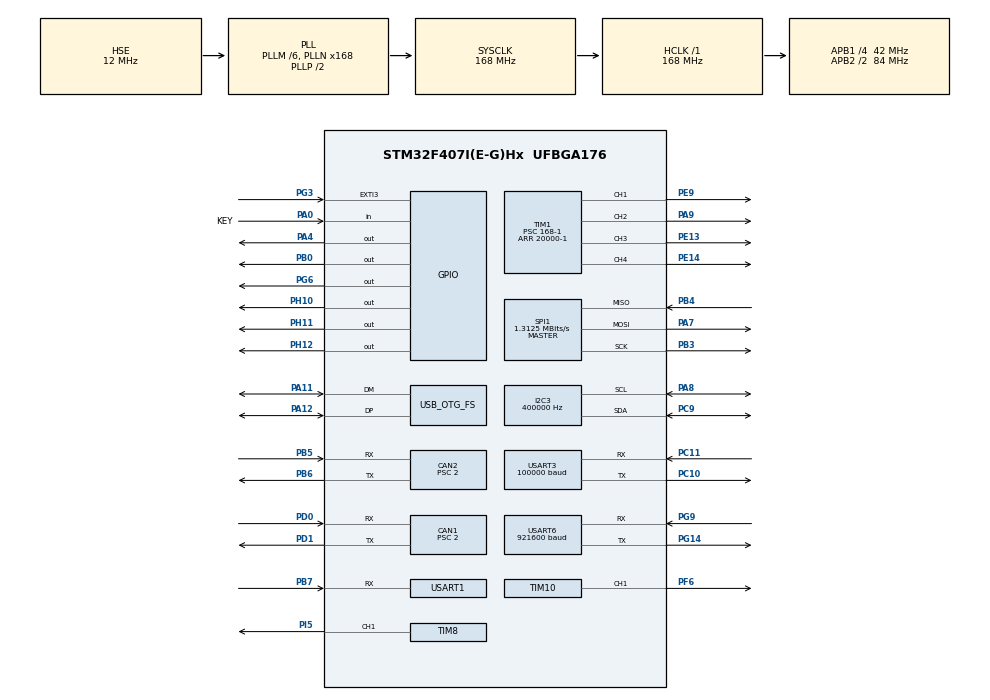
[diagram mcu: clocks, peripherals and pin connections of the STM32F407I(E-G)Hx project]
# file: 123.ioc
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CAN1.ABOM=ENABLE
CAN1.AWUM=DISABLE
CAN1.BS1=CAN_BS1_15TQ
CAN1.BS2=CAN_BS2_5TQ
CAN1.CalculateBaudRate=1000000
CAN1.CalculateTimeQuantum=47.61904761904762
CAN1.Mode=CAN_MODE_NORMAL
CAN1.NART=ENABLE
CAN1.Prescaler=2
CAN1.RFLM=DISABLE
CAN1.SJW=CAN_SJW_1TQ
CAN1.TTCM=DISABLE
CAN1.TXFP=DISABLE
CAN2.ABOM=DISABLE
CAN2.AWUM=DISABLE
CAN2.BS1=CAN_BS1_15TQ
CAN2.BS2=CAN_BS2_5TQ
CAN2.CalculateBaudRate=1000000
CAN2.CalculateTimeBit=1000
CAN2.CalculateTimeQuantum=47.61904761904762
CAN2.Mode=CAN_MODE_NORMAL
CAN2.NART=DISABLE
CAN2.Prescaler=2
CAN2.RFLM=DISABLE
CAN2.SJW=CAN_SJW_1TQ
CAN2.TTCM=DISABLE
CAN2.TXFP=DISABLE
Dma.Request0=USART3_RX
Dma.Request1=SPI1_RX
Dma.Request2=SPI1_TX
Dma.SPI1_RX.1.Direction=DMA_PERIPH_TO_MEMORY
Dma.SPI1_RX.1.FIFOMode=DMA_FIFOMODE_DISABLE
Dma.SPI1_RX.1.Instance=DMA2_Stream2
Dma.SPI1_RX.1.MemDataAlignment=DMA_MDATAALIGN_BYTE
Dma.SPI1_RX.1.MemInc=DMA_MINC_ENABLE
Dma.SPI1_RX.1.Mode=DMA_NORMAL
Dma.SPI1_RX.1.PeriphDataAlignment=DMA_PDATAALIGN_BYTE
Dma.SPI1_RX.1.PeriphInc=DMA_PINC_DISABLE
Dma.SPI1_RX.1.Priority=DMA_PRIORITY_VERY_HIGH
Dma.SPI1_TX.2.Direction=DMA_MEMORY_TO_PERIPH
Dma.SPI1_TX.2.FIFOMode=DMA_FIFOMODE_DISABLE
Dma.SPI1_TX.2.Instance=DMA2_Stream3
Dma.SPI1_TX.2.MemDataAlignment=DMA_MDATAALIGN_BYTE
Dma.SPI1_TX.2.MemInc=DMA_MINC_ENABLE
Dma.SPI1_TX.2.Mode=DMA_NORMAL
Dma.SPI1_TX.2.PeriphDataAlignment=DMA_PDATAALIGN_BYTE
Dma.SPI1_TX.2.PeriphInc=DMA_PINC_DISABLE
Dma.SPI1_TX.2.Priority=DMA_PRIORITY_HIGH
Dma.USART3_RX.0.Direction=DMA_PERIPH_TO_MEMORY
Dma.USART3_RX.0.FIFOMode=DMA_FIFOMODE_DISABLE
Dma.USART3_RX.0.Instance=DMA1_Stream1
Dma.USART3_RX.0.MemDataAlignment=DMA_MDATAALIGN_BYTE
Dma.USART3_RX.0.MemInc=DMA_MINC_ENABLE
Dma.USART3_RX.0.Mode=DMA_CIRCULAR
Dma.USART3_RX.0.PeriphDataAlignment=DMA_PDATAALIGN_BYTE
Dma.USART3_RX.0.PeriphInc=DMA_PINC_DISABLE
Dma.USART3_RX.0.Priority=DMA_PRIORITY_HIGH
FREERTOS.HEAP_NUMBER=4
FREERTOS.INCLUDE_eTaskGetState=0
FREERTOS.INCLUDE_pcTaskGetTaskName=0
FREERTOS.INCLUDE_uxTaskGetStackHighWaterMark=0
FREERTOS.INCLUDE_uxTaskGetStackHighWaterMark2=0
FREERTOS.INCLUDE_uxTaskPriorityGet=1
FREERTOS.INCLUDE_vTaskCleanUpResources=0
FREERTOS.INCLUDE_vTaskDelay=1
FREERTOS.INCLUDE_vTaskDelayUntil=0
FREERTOS.INCLUDE_vTaskDelete=1
FREERTOS.INCLUDE_vTaskPrioritySet=1
FREERTOS.INCLUDE_vTaskSuspend=1
FREERTOS.INCLUDE_xEventGroupSetBitFromISR=0
FREERTOS.INCLUDE_xQueueGetMutexHolder=0
FREERTOS.INCLUDE_xSemaphoreGetMutexHolder=0
FREERTOS.INCLUDE_xTaskAbortDelay=0
FREERTOS.INCLUDE_xTaskGetCurrentTaskHandle=0
FREERTOS.INCLUDE_xTaskGetHandle=0
FREERTOS.INCLUDE_xTaskResumeFromISR=1
FREERTOS.MEMORY_ALLOCATION=2
FREERTOS.Tasks01=defaultTask,0,512,StartDefaultTask,Default,NULL ,Dynamic,NULL,NULL
FREERTOS.configCHECK_FOR_STACK_OVERFLOW=0
FREERTOS.configENABLE_BACKWARD_COMPATIBILITY=1
FREERTOS.configENABLE_FPU=0
FREERTOS.configGENERATE_RUN_TIME_STATS=0
FREERTOS.configIDLE_SHOULD_YIELD=1
FREERTOS.configLIBRARY_LOWEST_INTERRUPT_PRIORITY=15
FREERTOS.configLIBRARY_MAX_SYSCALL_INTERRUPT_PRIORITY=5
FREERTOS.configMAX_CO_ROUTINE_PRIORITIES=2
FREERTOS.configMAX_PRIORITIES=7
FREERTOS.configMAX_TASK_NAME_LEN=16
FREERTOS.configMINIMAL_STACK_SIZE=256
FREERTOS.configQUEUE_REGISTRY_SIZE=8
FREERTOS.configRECORD_STACK_HIGH_ADDRESS=0
FREERTOS.configTICK_RATE_HZ=1000
FREERTOS.configTOTAL_HEAP_SIZE=40960
FREERTOS.configUSE_APPLICATION_TASK_TAG=0
FREERTOS.configUSE_COUNTING_SEMAPHORES=0
FREERTOS.configUSE_CO_ROUTINES=0
FREERTOS.configUSE_DAEMON_TASK_STARTUP_HOOK=0
FREERTOS.configUSE_IDLE_HOOK=0
FREERTOS.configUSE_MALLOC_FAILED_HOOK=0
FREERTOS.configUSE_MUTEXES=1
FREERTOS.configUSE_NEWLIB_REENTRANT=0
FREERTOS.configUSE_POSIX_ERRNO=0
FREERTOS.configUSE_PREEMPTION=1
FREERTOS.configUSE_RECURSIVE_MUTEXES=0
FREERTOS.configUSE_STATS_FORMATTING_FUNCTIONS=0
FREERTOS.configUSE_TASK_NOTIFICATIONS=1
FREERTOS.configUSE_TICKLESS_IDLE=0
FREERTOS.configUSE_TICK_HOOK=0
FREERTOS.configUSE_TIMERS=0
FREERTOS.configUSE_TRACE_FACILITY=0
FREERTOS.copyHeapFile=1
I2C3.AddressingMode=I2C_ADDRESSINGMODE_7BIT
I2C3.ClockSpeed=400000
I2C3.DualAddressMode=I2C_DUALADDRESS_DISABLE
I2C3.DutyCycle=I2C_DUTYCYCLE_2
I2C3.GeneralCallMode=I2C_GENERALCALL_DISABLE
I2C3.I2C_Mode=I2C_Fast
I2C3.NoStretchMode=I2C_NOSTRETCH_DISABLE
I2C3.OwnAddress=0
Mcu.Family=STM32F4
Mcu.Name=STM32F407I(E-G)Hx
Mcu.Package=UFBGA176
NVIC.CAN1_RX0_IRQn=true\:5\:0\:false\:false\:true\:true\:true\:true\:true
NVIC.CAN1_RX1_IRQn=true\:5\:0\:false\:false\:true\:true\:true\:true\:true
NVIC.CAN2_RX0_IRQn=true\:5\:0\:false\:false\:true\:true\:true\:true\:true
NVIC.CAN2_RX1_IRQn=true\:5\:0\:false\:false\:true\:true\:true\:true\:true
NVIC.DMA1_Stream1_IRQn=true\:5\:0\:false\:false\:true\:true\:false\:true\:true
NVIC.DMA2_Stream2_IRQn=true\:5\:0\:false\:false\:true\:false\:false\:true\:true
NVIC.DMA2_Stream3_IRQn=true\:5\:0\:false\:false\:true\:true\:false\:true\:true
NVIC.OTG_FS_IRQn=true\:5\:0\:true\:false\:true\:true\:false\:true\:true
NVIC.PriorityGroup=NVIC_PRIORITYGROUP_4
NVIC.TIM1_UP_TIM10_IRQn=true\:5\:0\:false\:false\:true\:false\:false\:true\:true
NVIC.TIM2_IRQn=true\:15\:0\:false\:false\:true\:false\:true\:true\:true
NVIC.TIM8_UP_TIM13_IRQn=true\:5\:0\:false\:false\:true\:true\:true\:true\:true
NVIC.TimeBase=TIM2_IRQn
NVIC.TimeBaseIP=TIM2
NVIC.USART1_IRQn=true\:5\:0\:false\:false\:true\:true\:true\:true\:true
NVIC.USART3_IRQn=true\:5\:0\:false\:false\:true\:true\:true\:true\:true
NVIC.USART6_IRQn=true\:5\:0\:false\:false\:true\:true\:true\:true\:true
PA0-WKUP.GPIO_Label=KEY
PA0-WKUP.GPIO_PuPd=GPIO_PULLUP
PA0-WKUP.Signal=GPIO_Input
PA10.Signal=USB_OTG_FS_ID
PA11.Mode=Device_Only
PA11.Signal=USB_OTG_FS_DM
PA12.Mode=Device_Only
PA12.Signal=USB_OTG_FS_DP
PA13.Mode=Serial_Wire
PA13.Signal=SYS_JTMS-SWDIO
PA14.Mode=Serial_Wire
PA14.Signal=SYS_JTCK-SWCLK
PA4.PinState=GPIO_PIN_SET
PA4.Signal=GPIO_Output
PA7.Mode=Full_Duplex_Master
PA7.Signal=SPI1_MOSI
PA8.Mode=I2C
PA8.Signal=I2C3_SCL
PA9.Signal=S_TIM1_CH2
PB0.PinState=GPIO_PIN_SET
PB0.Signal=GPIO_Output
PB3.Mode=Full_Duplex_Master
PB3.Signal=SPI1_SCK
PB4.Mode=Full_Duplex_Master
PB4.Signal=SPI1_MISO
PB5.Mode=CAN_Activate
PB5.Signal=CAN2_RX
PB6.Mode=CAN_Activate
PB6.Signal=CAN2_TX
PB7.Mode=Asynchronous
PB7.Signal=USART1_RX
PC10.Mode=Asynchronous
PC10.Signal=USART3_TX
PC11.Mode=Asynchronous
PC11.Signal=USART3_RX
PC9.Mode=I2C
PC9.Signal=I2C3_SDA
PD0.Mode=CAN_Activate
PD0.Signal=CAN1_RX
PD1.Mode=CAN_Activate
PD1.Signal=CAN1_TX
PE13.Signal=S_TIM1_CH3
PE14.Signal=S_TIM1_CH4
PE9.Signal=S_TIM1_CH1
PF6.Signal=S_TIM10_CH1
PG14.Mode=Asynchronous
PG14.Signal=USART6_TX
PG3.GPIO_PuPd=GPIO_PULLUP
PG3.Signal=GPXTI3
PG6.GPIO_PuPd=GPIO_PULLUP
PG6.GPIO_Speed=GPIO_SPEED_FREQ_MEDIUM
PG6.PinState=GPIO_PIN_SET
PG6.Signal=GPIO_Output
PG9.Mode=Asynchronous
PG9.Signal=USART6_RX
PH0-OSC_IN.Mode=HSE-External-Oscillator
PH0-OSC_IN.Signal=RCC_OSC_IN
PH1-OSC_OUT.Mode=HSE-External-Oscillator
PH1-OSC_OUT.Signal=RCC_OSC_OUT
PH10.Signal=GPIO_Output
PH11.PinState=GPIO_PIN_SET
PH11.Signal=GPIO_Output
PH12.Signal=GPIO_Output
PI5.Signal=S_TIM8_CH1
ProjectManager.HeapSize=0x200
ProjectManager.StackSize=0x400
ProjectManager.TargetToolchain=CMake
RCC.48MHZClocksFreq_Value=48000000
RCC.AHBFreq_Value=168000000
RCC.APB1CLKDivider=RCC_HCLK_DIV4
RCC.APB1Freq_Value=42000000
RCC.APB1TimFreq_Value=84000000
RCC.APB2CLKDivider=RCC_HCLK_DIV2
RCC.APB2Freq_Value=84000000
RCC.APB2TimFreq_Value=168000000
RCC.CortexFreq_Value=168000000
RCC.FLatency=FLASH_LATENCY_5
RCC.HCLKFreq_Value=168000000
RCC.HSE_VALUE=12000000
RCC.HSI_VALUE=16000000
RCC.LSE_VALUE=32768
RCC.PLLM=6
RCC.PLLN=168
RCC.PLLQ=7
RCC.SYSCLKFreq_VALUE=168000000
RCC.SYSCLKSource=RCC_SYSCLKSOURCE_PLLCLK
RCC.VCOOutputFreq_Value=336000000
SH.S_TIM10_CH1.0=TIM10_CH1,PWM Generation1 CH1
SH.S_TIM1_CH1.0=TIM1_CH1,PWM Generation1 CH1
SH.S_TIM1_CH2.0=TIM1_CH2,PWM Generation2 CH2
SH.S_TIM1_CH3.0=TIM1_CH3,PWM Generation3 CH3
SH.S_TIM1_CH4.0=TIM1_CH4,PWM Generation4 CH4
SH.S_TIM8_CH1.0=TIM8_CH1,PWM Generation1 CH1
SPI1.BaudRatePrescaler=SPI_BAUDRATEPRESCALER_64
SPI1.CLKPhase=SPI_PHASE_2EDGE
SPI1.CLKPolarity=SPI_POLARITY_HIGH
SPI1.CRCCalculation=SPI_CRCCALCULATION_DISABLE
SPI1.CalculateBaudRate=1.3125 MBits/s
SPI1.DataSize=SPI_DATASIZE_8BIT
SPI1.Direction=SPI_DIRECTION_2LINES
SPI1.FirstBit=SPI_FIRSTBIT_MSB
SPI1.Mode=SPI_MODE_MASTER
SPI1.NSS=SPI_NSS_SOFT
SPI1.TIMode=SPI_TIMODE_DISABLE
SPI1.VirtualType=VM_MASTER
TIM1.Channel-PWM\ Generation1\ CH1=TIM_CHANNEL_1
TIM1.Channel-PWM\ Generation2\ CH2=TIM_CHANNEL_2
TIM1.Channel-PWM\ Generation3\ CH3=TIM_CHANNEL_3
TIM1.Channel-PWM\ Generation4\ CH4=TIM_CHANNEL_4
TIM1.Period=20000-1
TIM1.Prescaler=168-1
TIM1.Pulse-PWM\ Generation1\ CH1=1000
TIM1.Pulse-PWM\ Generation2\ CH2=2000
TIM1.Pulse-PWM\ Generation3\ CH3=2000
TIM10.AutoReloadPreload=TIM_AUTORELOAD_PRELOAD_DISABLE
TIM10.Channel=TIM_CHANNEL_1
TIM10.ClockDivision=TIM_CLOCKDIVISION_DIV1
TIM10.CounterMode=TIM_COUNTERMODE_UP
TIM10.OC1Preload_PWM=ENABLE
TIM10.OCFastMode_PWM=TIM_OCFAST_DISABLE
TIM10.OCMode_PWM=TIM_OCMODE_PWM1
TIM10.OCPolarity_1=TIM_OCPOLARITY_HIGH
TIM10.Period=4999
TIM10.Prescaler=0
TIM10.Pulse=0
TIM8.Channel-PWM\ Generation1\ CH1=TIM_CHANNEL_1
TIM8.Period=20000-1
TIM8.Prescaler=168-1
TIM8.Pulse-PWM\ Generation1\ CH1=1000
USART1.BaudRate=9600
USART1.Mode=MODE_RX
USART1.OverSampling=UART_OVERSAMPLING_16
USART1.Parity=PARITY_NONE
USART1.StopBits=STOPBITS_1
USART1.VirtualMode=VM_ASYNC
USART1.WordLength=WORDLENGTH_8B
USART3.BaudRate=100000
USART3.Mode=MODE_RX
USART3.OverSampling=UART_OVERSAMPLING_16
USART3.Parity=PARITY_EVEN
USART3.StopBits=STOPBITS_1
USART3.VirtualMode=VM_ASYNC
USART3.WordLength=WORDLENGTH_8B
USART6.BaudRate=921600
USART6.Mode=MODE_TX_RX
USART6.OverSampling=UART_OVERSAMPLING_16
USART6.Parity=PARITY_NONE
USART6.StopBits=STOPBITS_1
USART6.VirtualMode=VM_ASYNC
USART6.WordLength=WORDLENGTH_8B
USB_DEVICE.CLASS_NAME_FS=CDC
USB_DEVICE.VirtualMode-CDC_FS=Cdc
USB_DEVICE.VirtualModeFS=Cdc_FS
USB_OTG_FS.VirtualMode=Device_Only
VP_FREERTOS_VS_CMSIS_V1.Mode=CMSIS_V1
VP_SYS_VS_tim2.Mode=TIM2
VP_TIM10_VS_ClockSourceINT.Mode=Enable_Timer
VP_USB_DEVICE_VS_USB_DEVICE_CDC_FS.Mode=CDC_FS
board=custom

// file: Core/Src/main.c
/* USER CODE BEGIN Header */
/**
  ******************************************************************************
  * @file           : main.c
  * @brief          : Main program body
  ******************************************************************************
  * @attention
  *
  * Copyright (c) 2025 STMicroelectronics.
  * All rights reserved.
  *
  * This software is licensed under terms that can be found in the LICENSE file
  * in the root directory of this software component.
  * If no LICENSE file comes with this software, it is provided AS-IS.
  *
  ******************************************************************************
  */
/* USER CODE END Header */
#include "main.h"
#include "cmsis_os.h"
#include "can.h"
#include "dma.h"
#include "i2c.h"
#include "spi.h"
#include "tim.h"
#include "usart.h"
#include "usb_device.h"
#include "gpio.h"

/* USER CODE BEGIN Includes */
#include "bsp_can.h"
#include "bsp_dwt.h"
#include "usart_decode.h"
#include "dbus.h"
#include "usart_dma.h"
#include "referee_decode.h"
#include "hc05_gamepad.h"
/* USER CODE END Includes */

void SystemClock_Config(void);
void MX_FREERTOS_Init(void);

int main(void)
{

  /* MCU Configuration--------------------------------------------------------*/

  /* Reset of all peripherals, Initializes the Flash interface and the Systick. */
  HAL_Init();

  /* Configure the system clock */
  SystemClock_Config();

  /* Initialize all configured peripherals */
  MX_GPIO_Init();
  MX_DMA_Init();
  MX_CAN1_Init();
  MX_USART1_UART_Init();
  MX_USART3_UART_Init();
  MX_USART6_UART_Init();
  MX_CAN2_Init();
  MX_SPI1_Init();
  MX_I2C3_Init();
  MX_TIM10_Init();
  MX_TIM1_Init();
  MX_TIM8_Init();
  /* USER CODE BEGIN 2 */
  BSP_DWT_Init();
  BSP_CAN_Init();
  HC05_Gamepad_Init();
  // 2026-10-02: UART1 的 HC-05 逐字节接收已弃用，UART1(115200) 改为
  // 机械臂上位机命令通道（RobotArm/Src/arm_protocol.cpp，由 ArmTask 启动接收）
  Uart_Init(&huart3, DBUS_Decode);               //接收dbus信息
   __HAL_UART_ENABLE_IT(&huart6, UART_IT_RXNE);   //接收裁判系统信息
  __HAL_TIM_SET_COMPARE(&htim1, TIM_CHANNEL_1, 2500);//2000是闭合，2500是打开

  HAL_TIM_PWM_Start(&htim1, TIM_CHANNEL_1);
  __HAL_TIM_SET_COMPARE(&htim1, TIM_CHANNEL_3, 1200);//1700是闭合，1200是打开
  HAL_TIM_PWM_Start(&htim1, TIM_CHANNEL_3);

  /* USER CODE END 2 */

  /* Call init function for freertos objects (in cmsis_os2.c) */
  MX_FREERTOS_Init();

  /* Start scheduler */
  osKernelStart();

  /* We should never get here as control is now taken by the scheduler */

  /* Infinite loop */
  /* USER CODE BEGIN WHILE */
  while (1)
  {
    bsp_can2_djimotorcmd(dbus.ch[0],0,0,0);
    HAL_Delay(10);
    /* USER CODE END WHILE */

  }
}

void SystemClock_Config(void)
{
  RCC_OscInitTypeDef RCC_OscInitStruct = {0};
  RCC_ClkInitTypeDef RCC_ClkInitStruct = {0};

  /** Configure the main internal regulator output voltage
  */
  __HAL_RCC_PWR_CLK_ENABLE();
  __HAL_PWR_VOLTAGESCALING_CONFIG(PWR_REGULATOR_VOLTAGE_SCALE1);

  /** Initializes the RCC Oscillators according to the specified parameters
  * in the RCC_OscInitTypeDef structure.
  */
  RCC_OscInitStruct.OscillatorType = RCC_OSCILLATORTYPE_HSE;
  RCC_OscInitStruct.HSEState = RCC_HSE_ON;
  RCC_OscInitStruct.PLL.PLLState = RCC_PLL_ON;
  RCC_OscInitStruct.PLL.PLLSource = RCC_PLLSOURCE_HSE;
  RCC_OscInitStruct.PLL.PLLM = 6;
  RCC_OscInitStruct.PLL.PLLN = 168;
  RCC_OscInitStruct.PLL.PLLP = RCC_PLLP_DIV2;
  RCC_OscInitStruct.PLL.PLLQ = 7;
  if (HAL_RCC_OscConfig(&RCC_OscInitStruct) != HAL_OK)
  {
    Error_Handler();
  }

  /** Initializes the CPU, AHB and APB buses clocks
  */
  RCC_ClkInitStruct.ClockType = RCC_CLOCKTYPE_HCLK|RCC_CLOCKTYPE_SYSCLK
                              |RCC_CLOCKTYPE_PCLK1|RCC_CLOCKTYPE_PCLK2;
  RCC_ClkInitStruct.SYSCLKSource = RCC_SYSCLKSOURCE_PLLCLK;
  RCC_ClkInitStruct.AHBCLKDivider = RCC_SYSCLK_DIV1;
  RCC_ClkInitStruct.APB1CLKDivider = RCC_HCLK_DIV4;
  RCC_ClkInitStruct.APB2CLKDivider = RCC_HCLK_DIV2;

  if (HAL_RCC_ClockConfig(&RCC_ClkInitStruct, FLASH_LATENCY_5) != HAL_OK)
  {
    Error_Handler();
  }
}

void HAL_TIM_PeriodElapsedCallback(TIM_HandleTypeDef *htim)
{
  if (htim->Instance == TIM2)
  {
    HAL_IncTick();
  }
}

void Error_Handler(void)
{
  __disable_irq();
  while (1)
  {
  }
}

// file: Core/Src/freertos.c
/* USER CODE BEGIN Header */
/**
  ******************************************************************************
  * File Name          : freertos.c
  * Description        : Code for freertos applications
  ******************************************************************************
  * @attention
  *
  * Copyright (c) 2025 STMicroelectronics.
  * All rights reserved.
  *
  * This software is licensed under terms that can be found in the LICENSE file
  * in the root directory of this software component.
  * If no LICENSE file comes with this software, it is provided AS-IS.
  *
  ******************************************************************************
  */
/* USER CODE END Header */

#include "FreeRTOS.h"
#include "task.h"
#include "main.h"
#include "cmsis_os.h"

/* USER CODE BEGIN Includes */
#include "hc05_gamepad.h"
extern void MasterBoardTask_Init(void);
extern void ImuTask_Init(void);
extern void MotorTask_Init(void);
extern void USBTask_Init(void);
/* 机械臂控制框架任务（RobotArm/）。与 MotorTask 驱动同一组电机，
 * 二者不能同时运行：启用 ArmTask 前先注释掉下方的 MotorTask_Init()。 */
/* extern void ArmTask_Init(void); */
/* 机械臂标定/调试任务：电机持续失能 + 100ms 轮询读取位置（USB 串口/Live Watch）。
 * 用于零位标定；与 MotorTask/ArmTask 互斥，标定完切回 MotorTask_Init()。 */
extern void ArmDebugTask_Init(void);
/* USER CODE END Includes */

/* USER CODE BEGIN PTD */
QueueHandle_t usbRxQueue = NULL;
/* USER CODE END PTD */

osThreadId defaultTaskHandle;

void StartDefaultTask(void const * argument);

extern void MX_USB_DEVICE_Init(void);
void MX_FREERTOS_Init(void); /* (MISRA C 2004 rule 8.1) */

/* GetIdleTaskMemory prototype (linked to static allocation support) */
void vApplicationGetIdleTaskMemory( StaticTask_t **ppxIdleTaskTCBBuffer, StackType_t **ppxIdleTaskStackBuffer, uint32_t *pulIdleTaskStackSize );

/* USER CODE BEGIN GET_IDLE_TASK_MEMORY */
static StaticTask_t xIdleTaskTCBBuffer;
static StackType_t xIdleStack[configMINIMAL_STACK_SIZE];

void vApplicationGetIdleTaskMemory( StaticTask_t **ppxIdleTaskTCBBuffer, StackType_t **ppxIdleTaskStackBuffer, uint32_t *pulIdleTaskStackSize )
{
  *ppxIdleTaskTCBBuffer = &xIdleTaskTCBBuffer;
  *ppxIdleTaskStackBuffer = &xIdleStack[0];
  *pulIdleTaskStackSize = configMINIMAL_STACK_SIZE;
  /* place for user code */
}
/* USER CODE END GET_IDLE_TASK_MEMORY */

void MX_FREERTOS_Init(void) {

  /* USER CODE BEGIN RTOS_QUEUES */
  /* add queues, ... */
  usbRxQueue = xQueueCreate(256, sizeof(uint8_t));
  configASSERT(usbRxQueue != NULL);
  /* USER CODE END RTOS_QUEUES */

  /* Create the thread(s) */
  /* definition and creation of defaultTask */
  osThreadDef(defaultTask, StartDefaultTask, osPriorityNormal, 0, 512);
  defaultTaskHandle = osThreadCreate(osThread(defaultTask), NULL );

  /* USER CODE BEGIN RTOS_THREADS */
  /* add threads, ... */
  //USB任务
  // USBTask_Init();

  //电机驱动任务（录制/回放）
  //MotorTask_Init();   // 框架联调期间暂时关闭（与 ArmTask 互斥）

  //机械臂控制框架任务（含 UART1 上位机命令通道）：与 MotorTask/ArmDebugTask 互斥
  ArmTask_Init();

  //机械臂标定/调试任务（标定已完成，2026-10-02 切回）
  //ArmDebugTask_Init();

  //主板任务
  //MasterBoardTask_Init();

  //IMU任务
   //ImuTask_Init();
  /* USER CODE END RTOS_THREADS */

}

void StartDefaultTask(void const * argument)
{
  /* init code for USB_DEVICE */
  MX_USB_DEVICE_Init();
  /* USER CODE BEGIN StartDefaultTask */
  /* Infinite loop */
  for(;;)
  {
    /* PA0 独立测试模式下，RGB LED 完全由 MotorTask 的真实状态控制。 */
    osDelay(10);
  }
  /* USER CODE END StartDefaultTask */
}
